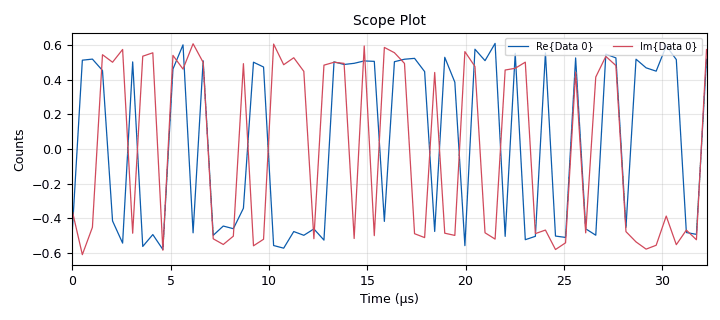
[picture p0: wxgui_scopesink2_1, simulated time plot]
<?xml version='1.0' encoding='utf-8'?>
<?grc format='1' created='3.7.9'?>
<flow_graph>
<block>
<key>options</key>
<param><key>id</key><value>top_block</value></param>
<param><key>category</key><value>Custom</value></param>
<param><key>generate_options</key><value>wx_gui</value></param>
</block>
<block>
<key>variable</key>
<param><key>id</key><value>samp_rate</value></param>
<param><key>value</key><value>int(31.25E6 * (64.0/1024))</value></param>
</block>
<block>
<key>analog_const_source_x</key>
<param><key>id</key><value>analog_const_source_x_0</value></param>
<param><key>const</key><value>(0.5+0.5j)</value></param>
<param><key>type</key><value>complex</value></param>
</block>
<block>
<key>analog_fastnoise_source_x</key>
<param><key>id</key><value>analog_fastnoise_source_x_0</value></param>
<param><key>amp</key><value>0.07</value></param>
<param><key>noise_type</key><value>analog.GR_GAUSSIAN</value></param>
<param><key>type</key><value>complex</value></param>
<param><key>seed</key><value>0</value></param>
<param><key>samples</key><value>8192</value></param>
</block>
<block>
<key>analog_random_source_x</key>
<param><key>id</key><value>analog_random_source_x_0</value></param>
<param><key>_enabled</key><value>0</value></param>
<param><key>max</key><value>2</value></param>
<param><key>min</key><value>0</value></param>
<param><key>num_samps</key><value>1000</value></param>
<param><key>type</key><value>byte</value></param>
<param><key>repeat</key><value>True</value></param>
</block>
<block>
<key>analog_random_source_x</key>
<param><key>id</key><value>analog_random_source_x_1</value></param>
<param><key>max</key><value>2</value></param>
<param><key>min</key><value>0</value></param>
<param><key>num_samps</key><value>1000</value></param>
<param><key>type</key><value>short</value></param>
<param><key>repeat</key><value>True</value></param>
</block>
<block>
<key>analog_sig_source_x</key>
<param><key>id</key><value>analog_sig_source_x_0</value></param>
<param><key>amp</key><value>1</value></param>
<param><key>_enabled</key><value>0</value></param>
<param><key>freq</key><value>1000</value></param>
<param><key>offset</key><value>0</value></param>
<param><key>type</key><value>complex</value></param>
<param><key>samp_rate</key><value>samp_rate</value></param>
<param><key>waveform</key><value>analog.GR_COS_WAVE</value></param>
</block>
<block>
<key>blocks_add_xx</key>
<param><key>id</key><value>blocks_add_xx_0</value></param>
<param><key>type</key><value>complex</value></param>
</block>
<block>
<key>blocks_file_sink</key>
<param><key>id</key><value>blocks_file_sink_1</value></param>
<param><key>_enabled</key><value>0</value></param>
<param><key>file</key><value>/mnt/overflow/work/software_parent_repo/higgs_sdr_rev2/libs/s-modem/soapy/js/test/data/ideal_qpsk_1.raw</value></param>
<param><key>type</key><value>complex</value></param>
</block>
<block>
<key>blocks_interleaved_short_to_complex</key>
<param><key>id</key><value>blocks_interleaved_short_to_complex_0</value></param>
<param><key>vector_input</key><value>False</value></param>
</block>
<block>
<key>blocks_sub_xx</key>
<param><key>id</key><value>blocks_sub_xx_0</value></param>
<param><key>type</key><value>complex</value></param>
</block>
<block>
<key>blocks_throttle</key>
<param><key>id</key><value>blocks_throttle_0</value></param>
<param><key>samples_per_second</key><value>samp_rate/64</value></param>
<param><key>type</key><value>complex</value></param>
</block>
<block>
<key>blocks_vector_source_x</key>
<param><key>id</key><value>blocks_vector_source_x_0</value></param>
<param><key>_enabled</key><value>0</value></param>
<param><key>type</key><value>complex</value></param>
<param><key>repeat</key><value>True</value></param>
<param><key>vector</key><value>(0, 0, 0)</value></param>
</block>
<block>
<key>digital_constellation_modulator</key>
<param><key>id</key><value>digital_constellation_modulator_0</value></param>
<param><key>constellation</key><value>[(-3-3j), (-1-3j), (1-3j), (3-3j)]</value></param>
<param><key>differential</key><value>True</value></param>
<param><key>_enabled</key><value>0</value></param>
<param><key>excess_bw</key><value>0.0</value></param>
<param><key>samples_per_symbol</key><value>2</value></param>
</block>
<block>
<key>wxgui_scopesink2</key>
<param><key>id</key><value>wxgui_scopesink2_1</value></param>
<param><key>ac_couple</key><value>False</value></param>
<param><key>num_inputs</key><value>1</value></param>
<param><key>samp_rate</key><value>samp_rate</value></param>
<param><key>t_scale</key><value>0</value></param>
<param><key>title</key><value>Scope Plot</value></param>
<param><key>trig_mode</key><value>wxgui.TRIG_MODE_AUTO</value></param>
<param><key>type</key><value>complex</value></param>
<param><key>v_offset</key><value>0</value></param>
<param><key>v_scale</key><value>0</value></param>
<param><key>xy_mode</key><value>False</value></param>
<param><key>y_axis_label</key><value>Counts</value></param>
</block>
<connection><source_block_id>analog_const_source_x_0</source_block_id><sink_block_id>blocks_sub_xx_0</sink_block_id><source_key>0</source_key><sink_key>1</sink_key></connection>
<connection><source_block_id>analog_fastnoise_source_x_0</source_block_id><sink_block_id>blocks_add_xx_0</sink_block_id><source_key>0</source_key><sink_key>1</sink_key></connection>
<connection><source_block_id>analog_random_source_x_0</source_block_id><sink_block_id>digital_constellation_modulator_0</sink_block_id><source_key>0</source_key><sink_key>0</sink_key></connection>
<connection><source_block_id>analog_random_source_x_1</source_block_id><sink_block_id>blocks_interleaved_short_to_complex_0</sink_block_id><source_key>0</source_key><sink_key>0</sink_key></connection>
<connection><source_block_id>analog_sig_source_x_0</source_block_id><sink_block_id>blocks_throttle_0</sink_block_id><source_key>0</source_key><sink_key>0</sink_key></connection>
<connection><source_block_id>blocks_add_xx_0</source_block_id><sink_block_id>blocks_throttle_0</sink_block_id><source_key>0</source_key><sink_key>0</sink_key></connection>
<connection><source_block_id>blocks_interleaved_short_to_complex_0</source_block_id><sink_block_id>blocks_sub_xx_0</sink_block_id><source_key>0</source_key><sink_key>0</sink_key></connection>
<connection><source_block_id>blocks_sub_xx_0</source_block_id><sink_block_id>blocks_add_xx_0</sink_block_id><source_key>0</source_key><sink_key>0</sink_key></connection>
<connection><source_block_id>blocks_throttle_0</source_block_id><sink_block_id>blocks_file_sink_1</sink_block_id><source_key>0</source_key><sink_key>0</sink_key></connection>
<connection><source_block_id>blocks_throttle_0</source_block_id><sink_block_id>wxgui_scopesink2_1</sink_block_id><source_key>0</source_key><sink_key>0</sink_key></connection>
<connection><source_block_id>digital_constellation_modulator_0</source_block_id><sink_block_id>blocks_throttle_0</sink_block_id><source_key>0</source_key><sink_key>0</sink_key></connection>
</flow_graph>
